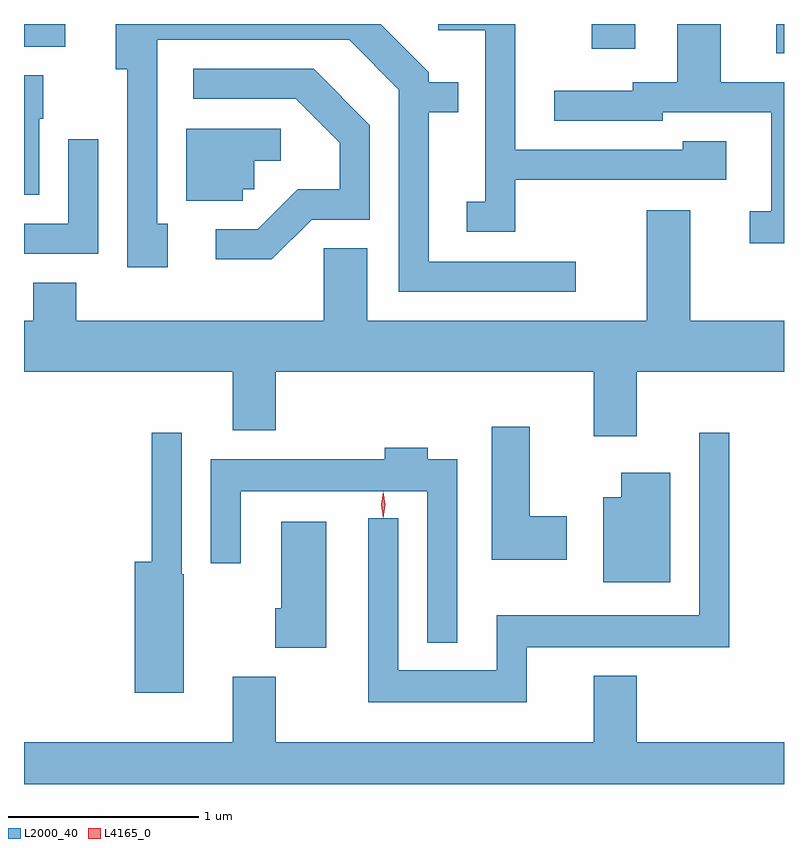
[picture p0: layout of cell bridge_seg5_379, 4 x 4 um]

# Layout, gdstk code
import gdstk
lib = gdstk.Library(unit=1e-6, precision=1e-09)
def R(c, l, rs):  # rectangles x0, y0, x1, y1
    for r in rs: c.add(gdstk.rectangle(r[:2], r[2:], *l))
def P(c, l, *ps):  # polygons
    for p in ps: c.add(gdstk.Polygon(p, *l))
L2000_40 = (2000, 40)
L4165_0 = (4165, 0)

bridge_seg5_379 = lib.new_cell('bridge_seg5_379')
R(bridge_seg5_379, L2000_40, [(484.301,1491.771,484.343,1491.925), (483.331,1491.796,483.559,1491.925), (480.343,1491.806,480.559,1491.925)])
P(bridge_seg5_379, L2000_40, [(482.929,1491.106),(484.039,1491.106),(484.039,1491.309),(483.811,1491.309),(483.811,1491.264),(482.929,1491.264),(482.929,1491.925),(482.523,1491.925),(482.523,1491.891),(482.771,1491.891),(482.771,1490.989),(482.673,1490.989),(482.673,1490.831),(482.929,1490.831)],
  [(483.248,1490.674),(482.474,1490.674),(482.474,1491.461),(482.628,1491.461),(482.628,1491.619),(482.474,1491.619),(482.474,1491.672),(482.221,1491.925),(480.826,1491.925),(480.826,1491.686),(480.886,1491.686),(480.886,1490.646),(481.099,1490.646),(481.099,1490.874),(481.044,1490.874),(481.044,1491.841),(482.054,1491.841),(482.316,1491.579),(482.316,1490.516),(483.248,1490.516)],
  [(484.343,1491.619),(484.009,1491.619),(484.009,1491.924),(483.781,1491.924),(483.781,1491.619),(483.546,1491.619),(483.546,1491.574),(483.133,1491.574),(483.133,1491.416),(483.704,1491.416),(483.704,1491.461),(484.276,1491.461),(484.276,1490.939),(484.163,1490.939),(484.163,1490.771),(484.343,1490.771)],
  [(481.857,1490.896),(482.164,1490.896),(482.164,1491.392),(481.867,1491.689),(481.233,1491.689),(481.233,1491.531),(481.774,1491.531),(482.006,1491.299),(482.006,1491.054),(481.784,1491.054),(481.574,1490.844),(481.353,1490.844),(481.353,1490.686),(481.647,1490.686)],
  [(480.424,1491.426),(480.444,1491.426),(480.444,1491.654),(480.343,1491.654),(480.343,1491.026),(480.424,1491.026)],
  [(481.494,1491.056),(481.554,1491.056),(481.554,1491.206),(481.693,1491.206),(481.693,1491.374),(481.196,1491.374),(481.196,1490.996),(481.494,1490.996)],
  [(480.734,1491.318),(480.576,1491.318),(480.576,1490.874),(480.343,1490.874),(480.343,1490.716),(480.734,1490.716)],
  [(483.569,1490.096),(484.343,1490.096),(484.343,1490.364),(483.849,1490.364),(483.849,1490.944),(483.621,1490.944),(483.621,1490.364),(482.149,1490.364),(482.149,1490.744),(481.921,1490.744),(481.921,1490.364),(480.619,1490.364),(480.619,1490.564),(480.391,1490.564),(480.391,1490.364),(480.343,1490.364),(480.343,1490.096),(481.441,1490.096),(481.441,1489.786),(481.669,1489.786),(481.669,1490.096),(483.341,1490.096),(483.341,1489.756),(483.569,1489.756)],
  [(483.199,1489.334),(483.004,1489.334),(483.004,1489.804),(482.806,1489.804),(482.806,1489.106),(483.199,1489.106)],
  [(481.184,1489.03),(481.174,1489.03),(481.174,1489.773),(481.016,1489.773),(481.016,1489.094),(480.926,1489.094),(480.926,1488.406),(481.184,1488.406)],
  [(482.989,1488.646),(484.054,1488.646),(484.054,1489.773),(483.896,1489.773),(483.896,1488.814),(482.831,1488.814),(482.831,1488.524),(482.314,1488.524),(482.314,1489.323),(482.156,1489.323),(482.156,1488.356),(482.989,1488.356)],
  [(482.624,1489.634),(482.469,1489.634),(482.469,1489.694),(482.241,1489.694),(482.241,1489.634),(481.326,1489.634),(481.326,1489.088),(481.484,1489.088),(481.484,1489.466),(482.466,1489.466),(482.466,1488.668),(482.624,1488.668)],
  [(483.744,1489.564),(483.486,1489.564),(483.486,1489.434),(483.391,1489.434),(483.391,1488.986),(483.744,1488.986)],
  [(481.934,1489.304),(481.696,1489.304),(481.696,1488.849),(481.666,1488.849),(481.666,1488.641),(481.934,1488.641)],
  [(484.343,1488.144),(483.569,1488.144),(483.569,1488.494),(483.341,1488.494),(483.341,1488.144),(481.669,1488.144),(481.669,1488.489),(481.441,1488.489),(481.441,1488.144),(480.343,1488.144),(480.343,1487.925),(484.343,1487.925)])
P(bridge_seg5_379, L4165_0, [(482.233,1489.324),(482.233,1489.324),(482.223,1489.394),(482.233,1489.462),(482.233,1489.463),(482.234,1489.462),(482.243,1489.394),(482.234,1489.324)],
  [(482.233,1489.327),(482.233,1489.328),(482.223,1489.394),(482.233,1489.46),(482.233,1489.46),(482.234,1489.46),(482.243,1489.394),(482.234,1489.328)])

lib.write_gds('bridge_seg5_379.gds')
